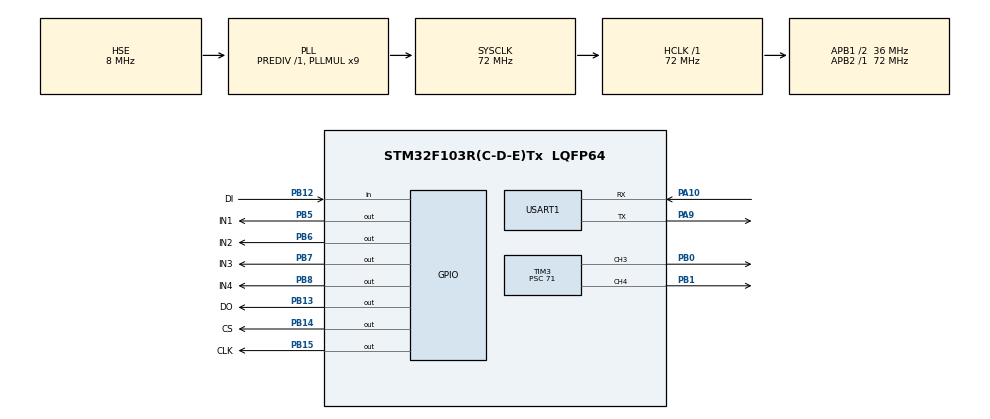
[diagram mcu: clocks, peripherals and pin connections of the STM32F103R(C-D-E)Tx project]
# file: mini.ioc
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Mcu.Family=STM32F1
Mcu.Name=STM32F103R(C-D-E)Tx
Mcu.Package=LQFP64
NVIC.PriorityGroup=NVIC_PRIORITYGROUP_4
NVIC.USART1_IRQn=true\:0\:0\:false\:false\:true\:true\:true
PA10.Mode=Asynchronous
PA10.Signal=USART1_RX
PA13.Mode=Serial_Wire
PA13.Signal=SYS_JTMS-SWDIO
PA14.Mode=Serial_Wire
PA14.Signal=SYS_JTCK-SWCLK
PA9.Mode=Asynchronous
PA9.Signal=USART1_TX
PB0.GPIO_Speed=GPIO_SPEED_FREQ_HIGH
PB0.Signal=S_TIM3_CH3
PB1.GPIO_Speed=GPIO_SPEED_FREQ_HIGH
PB1.Signal=S_TIM3_CH4
PB12.GPIO_Label=DI
PB12.Signal=GPIO_Input
PB13.GPIO_Label=DO
PB13.GPIO_Speed=GPIO_SPEED_FREQ_HIGH
PB13.Signal=GPIO_Output
PB14.GPIO_Label=CS
PB14.GPIO_Speed=GPIO_SPEED_FREQ_HIGH
PB14.Signal=GPIO_Output
PB15.GPIO_Label=CLK
PB15.GPIO_Speed=GPIO_SPEED_FREQ_HIGH
PB15.Signal=GPIO_Output
PB5.GPIO_Label=IN1
PB5.GPIO_Speed=GPIO_SPEED_FREQ_HIGH
PB5.Signal=GPIO_Output
PB6.GPIO_Label=IN2
PB6.GPIO_Speed=GPIO_SPEED_FREQ_HIGH
PB6.Signal=GPIO_Output
PB7.GPIO_Label=IN3
PB7.GPIO_Speed=GPIO_SPEED_FREQ_HIGH
PB7.Signal=GPIO_Output
PB8.GPIO_Label=IN4
PB8.GPIO_Speed=GPIO_SPEED_FREQ_HIGH
PB8.Signal=GPIO_Output
PD0-OSC_IN.Mode=HSE-External-Oscillator
PD0-OSC_IN.Signal=RCC_OSC_IN
PD1-OSC_OUT.Mode=HSE-External-Oscillator
PD1-OSC_OUT.Signal=RCC_OSC_OUT
ProjectManager.HeapSize=0x200
ProjectManager.StackSize=0x400
ProjectManager.TargetToolchain=MDK-ARM V5.27
RCC.AHBFreq_Value=72000000
RCC.APB1CLKDivider=RCC_HCLK_DIV2
RCC.APB1Freq_Value=36000000
RCC.APB1TimFreq_Value=72000000
RCC.APB2Freq_Value=72000000
RCC.APB2TimFreq_Value=72000000
RCC.EnbaleCSS=true
RCC.HCLKFreq_Value=72000000
RCC.PLLMUL=RCC_PLL_MUL9
RCC.PLLSourceVirtual=RCC_PLLSOURCE_HSE
RCC.SYSCLKFreq_VALUE=72000000
RCC.SYSCLKSource=RCC_SYSCLKSOURCE_PLLCLK
RCC.USBFreq_Value=72000000
SH.S_TIM3_CH3.0=TIM3_CH3,PWM Generation3 CH3
SH.S_TIM3_CH4.0=TIM3_CH4,PWM Generation4 CH4
TIM3.AutoReloadPreload=TIM_AUTORELOAD_PRELOAD_ENABLE
TIM3.Channel-PWM\ Generation3\ CH3=TIM_CHANNEL_3
TIM3.Channel-PWM\ Generation4\ CH4=TIM_CHANNEL_4
TIM3.Period=900
TIM3.Prescaler=71
TIM3.Pulse-PWM\ Generation3\ CH3=500
TIM3.Pulse-PWM\ Generation4\ CH4=500
TIM7.AutoReloadPreload=TIM_AUTORELOAD_PRELOAD_ENABLE
TIM7.Period=65535
TIM7.Prescaler=167
USART1.VirtualMode=VM_ASYNC
VP_TIM3_VS_ClockSourceINT.Mode=Internal
VP_TIM7_VS_ClockSourceINT.Mode=Enable_Timer
board=custom

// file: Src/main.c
/* USER CODE BEGIN Header */
/**
  ******************************************************************************
  * @file           : main.c
  * @brief          : Main program body
  ******************************************************************************
  * @attention
  *
  * <h2><center>&copy; Copyright (c) 2020 STMicroelectronics.
  * All rights reserved.</center></h2>
  *
  * This software component is licensed by ST under BSD 3-Clause license,
  * the "License"; You may not use this file except in compliance with the
  * License. You may obtain a copy of the License at:
  *                        opensource.org/licenses/BSD-3-Clause
  *
  ******************************************************************************
  */
/* USER CODE END Header */

#include "main.h"
#include "tim.h"
#include "usart.h"
#include "gpio.h"

/* USER CODE BEGIN Includes */
#include "pstwo.h"
#include "math.h"
#include "stdlib.h"
#include "stdio.h"
#include "string.h"
/* USER CODE END Includes */

/* USER CODE BEGIN PV */

uint8_t aTxStartMessages[] = "\r\n******UART commucition using IT******\r\nPlease enter 10 characters:\r\n";
uint8_t aRxBuffer[20];
/* USER CODE END PV */

void SystemClock_Config(void);
/* USER CODE BEGIN PFP */
void int_char(int l, uint8_t *s)
{
    *s = l>>8;
    *(s+1) = l;
}

void Motor_Speed_Control(int16_t motor1, int16_t motor2)
{
    int16_t motor1speed = 0, motor2speed = 0 ;
    if(motor1>899)  motor1speed =899;
	    else if (motor1<-899)  motor1speed = -899;
			else  motor1speed = motor1;
	if(motor2>899)  motor2speed = 899;
	    else if (motor2<-899)  motor2speed = -899;
			else  motor2speed = motor2;
	if(motor2speed == 0) //刹车
	{
		HAL_GPIO_WritePin(IN1_GPIO_Port,IN1_Pin,GPIO_PIN_RESET);
		HAL_GPIO_WritePin(IN2_GPIO_Port,IN2_Pin,GPIO_PIN_RESET);
		__HAL_TIM_SetCompare(&htim3,TIM_CHANNEL_3,motor1speed);
	}
  else if(motor2speed > 0)
	{
		HAL_GPIO_WritePin(IN1_GPIO_Port,IN1_Pin,GPIO_PIN_SET);
		HAL_GPIO_WritePin(IN2_GPIO_Port,IN2_Pin,GPIO_PIN_RESET);
		__HAL_TIM_SetCompare(&htim3,TIM_CHANNEL_3,motor1speed);
	}
	else
	{
		HAL_GPIO_WritePin(IN1_GPIO_Port,IN1_Pin,GPIO_PIN_RESET);
		HAL_GPIO_WritePin(IN2_GPIO_Port,IN2_Pin,GPIO_PIN_SET);
		__HAL_TIM_SetCompare(&htim3,TIM_CHANNEL_3,motor1speed);
	}

	if(motor1speed == 0)
	{
		HAL_GPIO_WritePin(IN3_GPIO_Port,IN3_Pin,GPIO_PIN_RESET);
		HAL_GPIO_WritePin(IN4_GPIO_Port,IN4_Pin,GPIO_PIN_RESET);
		__HAL_TIM_SetCompare(&htim3,TIM_CHANNEL_4,motor2speed);
	}
	else if(motor1speed > 0)
	{
		HAL_GPIO_WritePin(IN3_GPIO_Port,IN3_Pin,GPIO_PIN_RESET);
		HAL_GPIO_WritePin(IN4_GPIO_Port,IN4_Pin,GPIO_PIN_SET);
		__HAL_TIM_SetCompare(&htim3,TIM_CHANNEL_4,motor2speed);
	}
	else
	{
		HAL_GPIO_WritePin(IN3_GPIO_Port,IN3_Pin,GPIO_PIN_SET);
		HAL_GPIO_WritePin(IN4_GPIO_Port,IN4_Pin,GPIO_PIN_RESET);
		__HAL_TIM_SetCompare(&htim3,TIM_CHANNEL_4,motor2speed);
	}
}
unsigned int  absolute(int a)
{
	if(a>=0){
		return a;
	}
	else
	return -a;
}
/* USER CODE END PFP */

int main(void)
{
  /* USER CODE BEGIN 1 */
	int16_t speed,speed1,speed2;
	int16_t swerve=0;
	uint8_t txbuf[50];
  /* USER CODE END 1 */

  /* MCU Configuration--------------------------------------------------------*/

  /* Reset of all peripherals, Initializes the Flash interface and the Systick. */
  HAL_Init();

  /* Configure the system clock */
  SystemClock_Config();

  /* Initialize all configured peripherals */
  MX_GPIO_Init();
  MX_TIM3_Init();
  MX_TIM7_Init();
  MX_USART1_UART_Init();
  /* USER CODE BEGIN 2 */
	HAL_TIM_Base_Start(&htim7);
	HAL_TIM_Base_Start(&htim3);
	HAL_TIM_PWM_Start(&htim3,TIM_CHANNEL_3);
	HAL_TIM_PWM_Start(&htim3,TIM_CHANNEL_4);
	PS2_SetInit();
  /* USER CODE END 2 */

  /* Infinite loop */
  /* USER CODE BEGIN WHILE */
  while (1)
  {
		//if(1)
		if( !PS2_RedLight()) //判断手柄是否为红灯模式，是，指示灯LED点亮
		{
			HAL_Delay(50);	 //延时很重要不可去
			//LED = 0;
			PS2_DataKey();	 //手柄按键捕获处理
			/*
			speed = (PS2_AnologData(PSS_LY)-128)*7;//meng
			swerve = (PS2_AnologData(PSS_RX)-127)*3;//meng
			speed1 = (speed + swerve);//meng
			speed2 = (speed - swerve);//meng
			Motor_Speed_Control(speed1, speed2);//meng*/
			/*
			Motor_Speed_Control(450, 450);//meng
			//HAL_Delay(5000);
			//Motor_Speed_Control(0, 0);//meng
			//HAL_Delay(500);
			//Motor_Speed_Control(-450, -450);//meng
			//HAL_Delay(5000);
			//Motor_Speed_Control(0, 0);//meng
			//HAL_Delay(500);*/

			speed = PS2_AnologData(PSS_LY)-127;
			swerve = (PS2_AnologData(PSS_RX)-128)*7*((float)absolute(speed)/128); //	speed取绝对值，	算数运算，得到转弯量。
			speed = -(PS2_AnologData(PSS_LY)-127)*7;	   //正：前进；  负：后退
			if(speed > 0) //向前
			{
				if(swerve < 0)//左转弯
				{
					speed1 = speed + swerve;
					speed2 = speed;

				}
				else          //右转弯
				{
					speed1 = speed;
					speed2 = speed - swerve;;
					Motor_Speed_Control(speed1, speed2);
				}
			}
			else if(speed < 0)//向后
			{
				if(swerve < 0)//左转弯
				{
					speed1 = speed + swerve;
					speed2 = speed;
					Motor_Speed_Control(speed1, speed2);
				}
				else//右转弯
				{
					speed1 = speed;
					speed2 = speed - swerve;;
					Motor_Speed_Control(speed1, speed2);
				}
			}
			else  Motor_Speed_Control(0, 0); //停止
			int_char(speed1,txbuf);
			//memcpy(txbuf,(char*)speed1,50);//
			//memcpy(txbuf,"这是一个串口中断接收回显实验\n",50);
			HAL_UART_Transmit(&huart1,txbuf,strlen((char *)txbuf),1000);
			memcpy(txbuf,"\n",50);
			HAL_UART_Transmit(&huart1,txbuf,strlen((char *)txbuf),1000);
		}
		else	//判断手柄不是红灯模式，指示灯LED熄灭
		{
			//LED = 1;
			Motor_Speed_Control(0, 0);
			HAL_Delay(50);
		}

    /* USER CODE END WHILE */

  }
}

void SystemClock_Config(void)
{
  RCC_OscInitTypeDef RCC_OscInitStruct = {0};
  RCC_ClkInitTypeDef RCC_ClkInitStruct = {0};

  /** Initializes the CPU, AHB and APB busses clocks
  */
  RCC_OscInitStruct.OscillatorType = RCC_OSCILLATORTYPE_HSE;
  RCC_OscInitStruct.HSEState = RCC_HSE_ON;
  RCC_OscInitStruct.HSEPredivValue = RCC_HSE_PREDIV_DIV1;
  RCC_OscInitStruct.HSIState = RCC_HSI_ON;
  RCC_OscInitStruct.PLL.PLLState = RCC_PLL_ON;
  RCC_OscInitStruct.PLL.PLLSource = RCC_PLLSOURCE_HSE;
  RCC_OscInitStruct.PLL.PLLMUL = RCC_PLL_MUL9;
  if (HAL_RCC_OscConfig(&RCC_OscInitStruct) != HAL_OK)
  {
    Error_Handler();
  }
  /** Initializes the CPU, AHB and APB busses clocks
  */
  RCC_ClkInitStruct.ClockType = RCC_CLOCKTYPE_HCLK|RCC_CLOCKTYPE_SYSCLK
                              |RCC_CLOCKTYPE_PCLK1|RCC_CLOCKTYPE_PCLK2;
  RCC_ClkInitStruct.SYSCLKSource = RCC_SYSCLKSOURCE_PLLCLK;
  RCC_ClkInitStruct.AHBCLKDivider = RCC_SYSCLK_DIV1;
  RCC_ClkInitStruct.APB1CLKDivider = RCC_HCLK_DIV2;
  RCC_ClkInitStruct.APB2CLKDivider = RCC_HCLK_DIV1;

  if (HAL_RCC_ClockConfig(&RCC_ClkInitStruct, FLASH_LATENCY_2) != HAL_OK)
  {
    Error_Handler();
  }
  /** Enables the Clock Security System
  */
  HAL_RCC_EnableCSS();
}

void Error_Handler(void)
{
}

/************************ (C) COPYRIGHT STMicroelectronics *****END OF FILE****/
